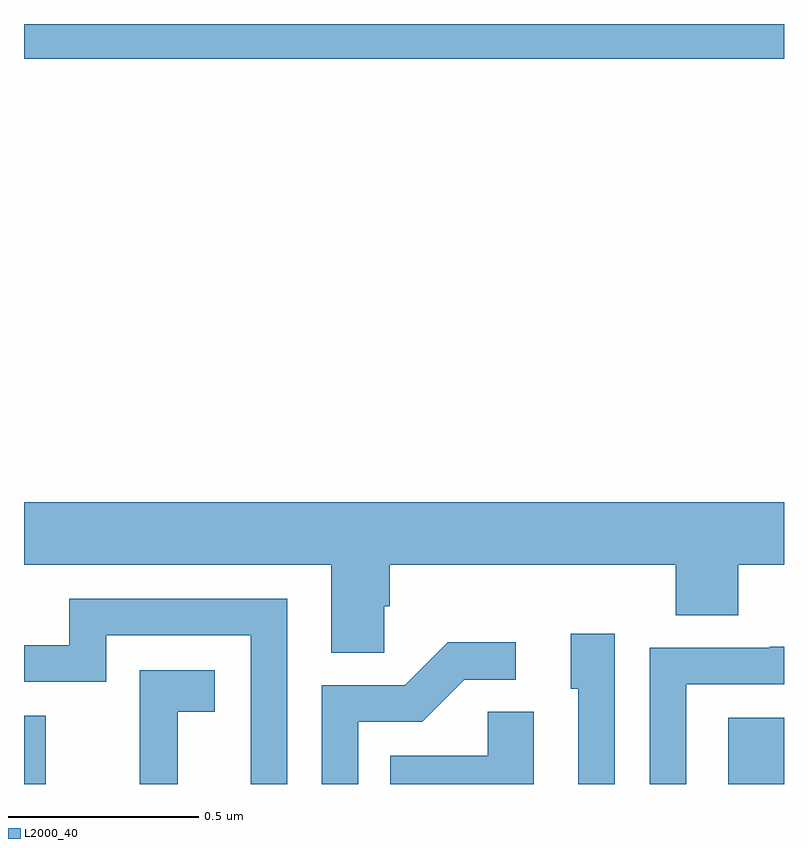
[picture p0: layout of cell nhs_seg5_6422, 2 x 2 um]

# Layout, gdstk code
import gdstk
lib = gdstk.Library(unit=1e-6, precision=1e-09)
def R(c, l, rs):  # rectangles x0, y0, x1, y1
    for r in rs: c.add(gdstk.rectangle(r[:2], r[2:], *l))
def P(c, l, *ps):  # polygons
    for p in ps: c.add(gdstk.Polygon(p, *l))
L2000_40 = (2000, 40)

nhs_seg5_6422 = lib.new_cell('nhs_seg5_6422')
R(nhs_seg5_6422, L2000_40, [(195,906.799,195.057,906.978), (196.853,906.799,197,906.973), (195,908.708,197,908.799)])
P(nhs_seg5_6422, L2000_40, [(195.948,907.267),(195.962,907.267),(195.962,907.376),(196.715,907.376),(196.715,907.243),(196.88,907.243),(196.88,907.376),(197,907.376),(197,907.54),(195,907.54),(195,907.376),(195.809,907.376),(195.809,907.144),(195.948,907.144)],
  [(195.693,907.287),(195.119,907.287),(195.119,907.164),(195,907.164),(195,907.068),(195.216,907.068),(195.216,907.191),(195.597,907.191),(195.597,906.799),(195.693,906.799)],
  [(196.554,907.195),(196.439,907.195),(196.439,907.05),(196.458,907.05),(196.458,906.799),(196.554,906.799)],
  [(195.879,906.963),(196.048,906.963),(196.159,907.074),(196.294,907.074),(196.294,907.172),(196.115,907.172),(196.002,907.059),(195.783,907.059),(195.783,906.799),(195.879,906.799)],
  [(196.743,907.062),(197,907.062),(197,907.16),(196.963,907.16),(196.963,907.158),(196.647,907.158),(196.647,906.799),(196.743,906.799)],
  [(195.404,906.989),(195.502,906.989),(195.502,907.099),(195.304,907.099),(195.304,906.893),(195.305,906.893),(195.305,906.799),(195.404,906.799)],
  [(196.342,906.989),(196.221,906.989),(196.221,906.874),(195.964,906.874),(195.964,906.799),(196.342,906.799)])

lib.write_gds('nhs_seg5_6422.gds')
